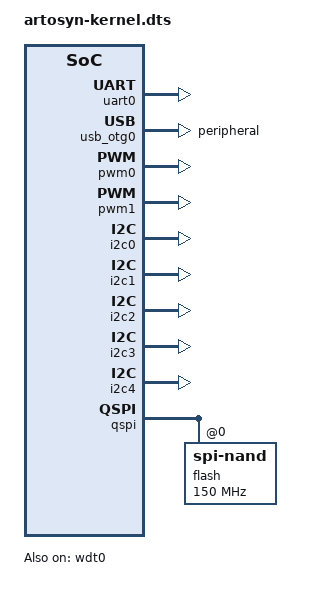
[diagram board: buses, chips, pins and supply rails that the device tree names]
/*
 * Copyright 2015 Artosyn Co., Ltd.
 *
 * This file is dual-licensed: you can use it either under the terms
 * of the GPL or the X11 license, at your option. Note that this dual
 * licensing only applies to this file, and not this project as a
 * whole.
 *
 *  a) This file is free software; you can redistribute it and/or
 *     modify it under the terms of the GNU General Public License as
 *     published by the Free Software Foundation; either version 2 of the
 *     License, or (at your option) any later version.
 *
 *     This file is distributed in the hope that it will be useful,
 *     but WITHOUT ANY WARRANTY; without even the implied warranty of
 *     MERCHANTABILITY or FITNESS FOR A PARTICULAR PURPOSE.  See the
 *     GNU General Public License for more details.
 *
 * Or, alternatively,
 *
 *  b) Permission is hereby granted, free of charge, to any person
 *     obtaining a copy of this software and associated documentation
 *     files (the "Software"), to deal in the Software without
 *     restriction, including without limitation the rights to use,
 *     copy, modify, merge, publish, distribute, sublicense, and/or
 *     sell copies of the Software, and to permit persons to whom the
 *     Software is furnished to do so, subject to the following
 *     conditions:
 *
 *     The above copyright notice and this permission notice shall be
 *     included in all copies or substantial portions of the Software.
 *
 *     THE SOFTWARE IS PROVIDED "AS IS", WITHOUT WARRANTY OF ANY KIND,
 *     EXPRESS OR IMPLIED, INCLUDING BUT NOT LIMITED TO THE WARRANTIES
 *     OF MERCHANTABILITY, FITNESS FOR A PARTICULAR PURPOSE AND
 *     NONINFRINGEMENT. IN NO EVENT SHALL THE AUTHORS OR COPYRIGHT
 *     HOLDERS BE LIABLE FOR ANY CLAIM, DAMAGES OR OTHER LIABILITY,
 *     WHETHER IN AN ACTION OF CONTRACT, TORT OR OTHERWISE, ARISING
 *     OTHER DEALINGS IN THE SOFTWARE.
 */

/dts-v1/;
#include "../../common/artosyn-kernel.dtsi"
#include "artosyn-memory.dtsi"

/ {
    ar_mpp {
        h26x {
            conf_file_path = "/usrdata/cfg/codec_factory_cfg.cjson";
        };
    };
};



&cpu0 {
    /delete-property/ operating-points-v2;
};
&cpu1 {
    /delete-property/ operating-points-v2;
};

&cpus {
    /delete-node/ cpu@2;
    /delete-node/ cpu@3;
};

&pmu0 {
	interrupts = <GIC_SPI 9  IRQ_TYPE_LEVEL_HIGH>,
				<GIC_SPI 10 IRQ_TYPE_LEVEL_HIGH>;
	interrupt-affinity = <&cpu0>, <&cpu1>;
};

&uart0 {
	status = "okay";
};

&vbus_regulator0 {
	/delete-property/ gpio;
};

&vbus_regulator1 {
	/delete-property/ gpio;
};

&vbus_regulator2 {
	/delete-property/ gpio;
};

&usb_otg0 {
	dr_mode = "peripheral";
    // for uvc isoc
    g-rx-fifo-size = <384>;
	g-tx-fifo-size = <512 512 256 256 256 256 128 128 128 64>;

	status = "okay";
};

&wdt0 {
	status = "okay";
};

&rtc0 {
	status = "disabled";
};

&pwm0 {
	status = "okay";
};

&pwm1 {
	status = "okay";
};

&i2c0 {
	status = "okay";
};

&i2c1 {
	status = "okay";
};

&i2c2 {
	status = "okay";
};

&i2c3 {
	status = "okay";
};

&i2c4 {
	status = "okay";
};

&qspi {
	status = "okay";

	flash@0 {
		compatible = "spi-nand";
		reg = <SPI_NAND_CS0>;
		spi-max-frequency = <150000000>;
	};

    /delete-node/flash@1;
    /delete-node/flash@2;
    /delete-node/flash@3;
};

